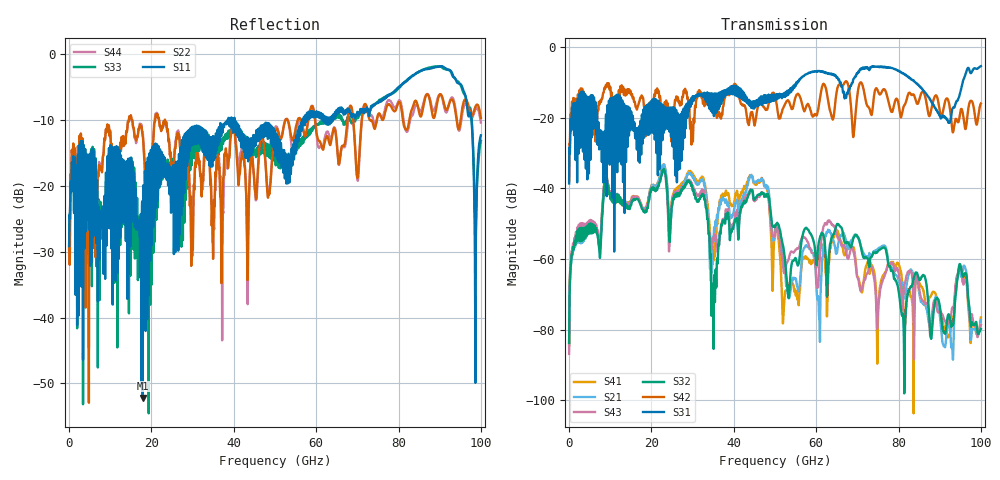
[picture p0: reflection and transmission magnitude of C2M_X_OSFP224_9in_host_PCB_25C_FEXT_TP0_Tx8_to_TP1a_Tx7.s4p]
# GHz S RI R 45
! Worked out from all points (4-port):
!   4000 points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, 25 MHz to 100 GHz, reference 45 ohm
!   strongest paths, dB at 25 MHz, 25.02 GHz, 50.02 GHz, 75.03 GHz, 100 GHz:
!     S31: -38.6, -18.6, -13.7, -5.5, -5.4
!     S42: -37.9, -22.2, -13.8, -12.5, -15.9
!     S32: -83.7, -44.9, -50.9, -57.7, -79.8
!     S43: -86.8, -43.5, -53.2, -74.1, -78.6
!     S21: -84.1, -44.5, -52.8, -57.1, -77.2
!     S41: -84.6, -43.1, -51.5, -75.9, -76.5
!   lowest |S11| = -52.2 dB at 17.9 GHz (marker M1), VSWR 1.00, Z = 44.9 + j0.201 ohm
!   |S11| at or under -10 dB: start of sweep to 38.65 GHz; 40.24 GHz to 56.64 GHz (16.4 GHz wide, 33.9 % of centre); 97.72 GHz to end of sweep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
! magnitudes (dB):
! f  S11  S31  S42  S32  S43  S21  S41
! 25 MHz  -29.2  -38.6  -37.9  -83.7  -86.8  -84.1  -84.6
! 8.9 GHz  -19.6  -21.6  -10.9  -36.8  -36.3  -36.3  -36.1
! 17.9 GHz  -52.2  -25.7  -14.3  -45.9  -45.7  -45.5  -45.4
! 35.02 GHz  -13.5  -13.4  -15.4  -70.7  -54.5  -54.9  -59.9
! 46.77 GHz  -12.5  -16.2  -16.1  -41.1  -41.0  -37.2  -37.0
! 52.15 GHz  -15.0  -13.7  -16.7  -57.5  -63.8  -60.1  -73.9
! 100 GHz  -12.3  -5.4  -15.9  -79.8  -78.6  -77.2  -76.5
